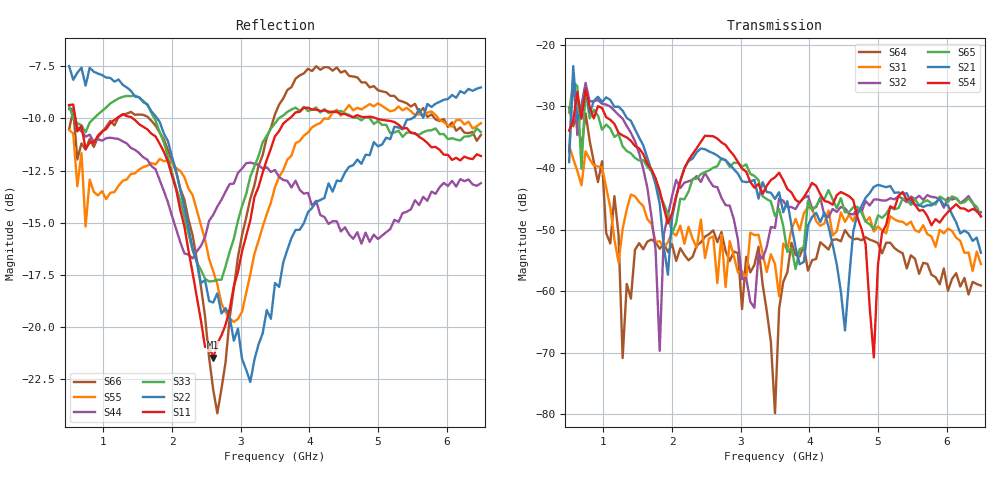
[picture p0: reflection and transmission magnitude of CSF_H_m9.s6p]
!Keysight Technologies,M9804A,MY58100912,A.14.10.03
!Date: Thursday, April 27, 2023 10:28:33
!Correction: S11(C  6-Port  )
!S12(C  6-Port  )
!S13(C  6-Port  )
!S14(C  6-Port  )
!S15(C  6-Port  )
!S16(C  6-Port  )
!S21(C  6-Port  )
!S22(C  6-Port  )
!S23(C  6-Port  )
!S24(C  6-Port  )
!S25(C  6-Port  )
!S26(C  6-Port  )
!S31(C  6-Port  )
!S32(C  6-Port  )
!S33(C  6-Port  )
!S34(C  6-Port  )
!S35(C  6-Port  )
!S36(C  6-Port  )
!S41(C  6-Port  )
!S42(C  6-Port  )
!S43(C  6-Port  )
!S44(C  6-Port  )
!S45(C  6-Port  )
!S46(C  6-Port  )
!S51(C  6-Port  )
!S52(C  6-Port  )
!S53(C  6-Port  )
!S54(C  6-Port  )
!S55(C  6-Port  )
!S56(C  6-Port  )
!S61(C  6-Port  )
!S62(C  6-Port  )
!S63(C  6-Port  )
!S64(C  6-Port  )
!S65(C  6-Port  )
!S66(C  6-Port  )
!S6P File: Measurement: :
# Hz S  RI  R 50
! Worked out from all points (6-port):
!   101 points, 500 MHz to 6.5 GHz, reference 50 ohm
!   strongest paths, dB at 500 MHz, 2 GHz, 3.5 GHz, 5 GHz, 6.5 GHz:
!     S54: -33.9, -47.4, -41.5, -55.7, -47.9
!     S21: -39.0, -48.1, -45.0, -42.7, -53.8
!     S65: -31.0, -50.6, -47.8, -47.7, -47.9
!     S32: -37.4, -44.5, -49.7, -45.1, -47.2
!     S31: -36.4, -50.4, -55.6, -49.5, -55.6
!     S64: -30.2, -52.4, -79.9, -52.2, -59.1
!   lowest |S11| = -21.5 dB at 2.6 GHz (marker M1), VSWR 1.18, Z = 42.5 + j2.16 ohm
!   |S11| at or under -10 dB: 591.1 MHz to 1.191 GHz (600.3 MHz wide, 67.4 % of centre); 1.428 GHz to 3.711 GHz (2.282 GHz wide, 88.8 % of centre); 4.977 GHz to end of sweep
